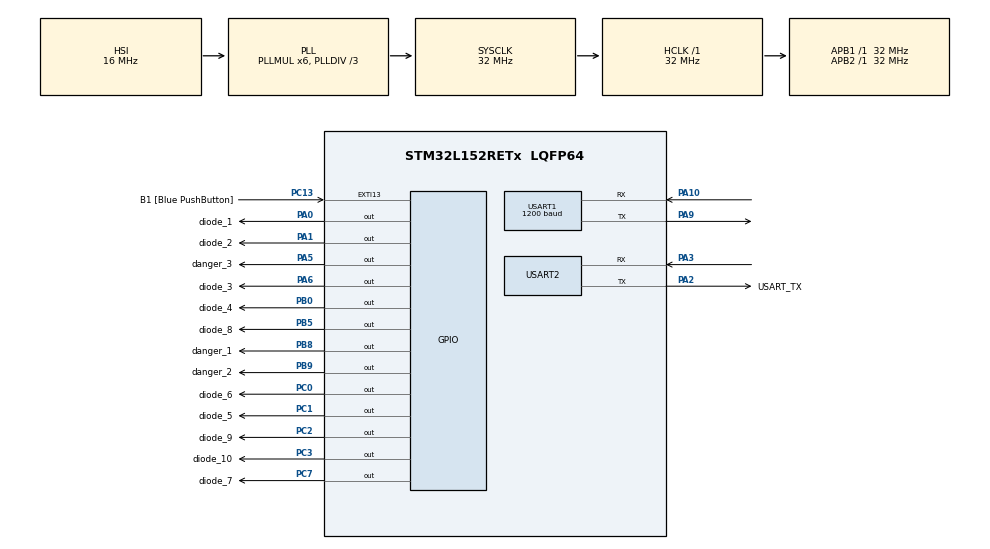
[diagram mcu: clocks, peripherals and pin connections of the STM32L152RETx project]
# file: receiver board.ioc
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Mcu.Family=STM32L1
Mcu.Name=STM32L152RETx
Mcu.Package=LQFP64
NVIC.PriorityGroup=NVIC_PRIORITYGROUP_0
NVIC.USART1_IRQn=true\:0\:0\:false\:false\:true\:true\:true\:true
PA0-WKUP1.GPIO_Label=diode_1
PA0-WKUP1.Signal=GPIO_Output
PA1.GPIO_Label=diode_2
PA1.Signal=GPIO_Output
PA10.Mode=Asynchronous
PA10.Signal=USART1_RX
PA13.GPIO_Label=TMS
PA13.Mode=Serial_Wire
PA13.Signal=SYS_JTMS-SWDIO
PA14.GPIO_Label=TCK
PA14.Mode=Serial_Wire
PA14.Signal=SYS_JTCK-SWCLK
PA2.GPIO_Label=USART_TX
PA2.Mode=Asynchronous
PA2.Signal=USART2_TX
PA3.Mode=Asynchronous
PA3.Signal=USART2_RX
PA5.GPIO_Label=danger_3
PA5.Signal=GPIO_Output
PA6.GPIO_Label=diode_3
PA6.Signal=GPIO_Output
PA9.Mode=Asynchronous
PA9.Signal=USART1_TX
PB0.GPIO_Label=diode_4
PB0.Signal=GPIO_Output
PB3.GPIO_Label=SWO
PB3.Signal=SYS_JTDO-TRACESWO
PB5.GPIO_Label=diode_8
PB5.Signal=GPIO_Output
PB8.GPIO_Label=danger_1
PB8.Signal=GPIO_Output
PB9.GPIO_Label=danger_2
PB9.Signal=GPIO_Output
PC0.GPIO_Label=diode_6
PC0.Signal=GPIO_Output
PC1.GPIO_Label=diode_5
PC1.Signal=GPIO_Output
PC13-WKUP2.GPIO_Label=B1 [Blue PushButton]
PC13-WKUP2.Signal=GPXTI13
PC14-OSC32_IN.Mode=LSE-External-Oscillator
PC14-OSC32_IN.Signal=RCC_OSC32_IN
PC15-OSC32_OUT.Mode=LSE-External-Oscillator
PC15-OSC32_OUT.Signal=RCC_OSC32_OUT
PC2.GPIO_Label=diode_9
PC2.Signal=GPIO_Output
PC3.GPIO_Label=diode_10
PC3.Signal=GPIO_Output
PC7.GPIO_Label=diode_7
PC7.Signal=GPIO_Output
PH0-OSC_IN.Mode=HSE-External-Clock-Source
PH0-OSC_IN.Signal=RCC_OSC_IN
PH1-OSC_OUT.Signal=RCC_OSC_OUT
ProjectManager.HeapSize=0x200
ProjectManager.StackSize=0x400
ProjectManager.TargetToolchain=STM32CubeIDE
RCC.48MHZClocksFreq_Value=48000000
RCC.AHBFreq_Value=32000000
RCC.APB1Freq_Value=32000000
RCC.APB1TimFreq_Value=32000000
RCC.APB2Freq_Value=32000000
RCC.APB2TimFreq_Value=32000000
RCC.HCLKFreq_Value=32000000
RCC.HSE_VALUE=8000000
RCC.HSI_VALUE=16000000
RCC.MSI_VALUE=2097000
RCC.PLLDIV=RCC_PLL_DIV3
RCC.PLLMUL=RCC_PLL_MUL6
RCC.RTCClockSelectionVirtual=RCC_RTCCLKSOURCE_LSE
RCC.SYSCLKFreq_VALUE=32000000
RCC.SYSCLKSource=RCC_SYSCLKSOURCE_PLLCLK
RCC.USBOutput=48000000
RCC.VCOOutputFreq_Value=96000000
USART1.BaudRate=1200
USART1.Mode=MODE_RX
USART1.VirtualMode=VM_ASYNC
USART2.VirtualMode=VM_ASYNC
board=NUCLEO-L152RE

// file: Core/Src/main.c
/* USER CODE BEGIN Header */
/**
  ******************************************************************************
  * @file           : main.c
  * @brief          : Main program body
  ******************************************************************************
  * @attention
  *
  * Copyright (c) 2025 STMicroelectronics.
  * All rights reserved.
  *
  * This software is licensed under terms that can be found in the LICENSE file
  * in the root directory of this software component.
  * If no LICENSE file comes with this software, it is provided AS-IS.
  *
  ******************************************************************************
  */
/* USER CODE END Header */
#include "main.h"

/* USER CODE BEGIN Includes */
#include <stdio.h>
/* USER CODE END Includes */

UART_HandleTypeDef huart1;
UART_HandleTypeDef huart2;

/* USER CODE BEGIN PV */
volatile uint8_t rx_byte;
uint8_t waiting_for_data = 0;
/* USER CODE END PV */

void SystemClock_Config(void);
static void MX_GPIO_Init(void);
static void MX_USART1_UART_Init(void);
static void MX_USART2_UART_Init(void);

int main(void)
{

  /* MCU Configuration--------------------------------------------------------*/

  /* Reset of all peripherals, Initializes the Flash interface and the Systick. */
  HAL_Init();

  /* Configure the system clock */
  SystemClock_Config();

  /* Initialize all configured peripherals */
  MX_GPIO_Init();
  MX_USART1_UART_Init();
  MX_USART2_UART_Init();
  /* USER CODE BEGIN 2 */

  printf("Receiver Ready\r\n");

  HAL_UART_Receive_IT(&huart1, (uint8_t*)&rx_byte, 1);

  void Update_BarGraph(uint16_t value)
  {
      GPIO_TypeDef* led_ports[] = {
          diode_1_GPIO_Port, diode_2_GPIO_Port, diode_3_GPIO_Port, diode_4_GPIO_Port,
          diode_5_GPIO_Port, diode_6_GPIO_Port, diode_7_GPIO_Port, diode_8_GPIO_Port,
          diode_9_GPIO_Port, diode_10_GPIO_Port
      };

      uint16_t led_pins[] = {
          diode_1_Pin, diode_2_Pin, diode_3_Pin, diode_4_Pin,
          diode_5_Pin, diode_6_Pin, diode_7_Pin, diode_8_Pin,
          diode_9_Pin, diode_10_Pin
      };

      uint8_t leds_to_light = value / 10;

      for (int i = 0; i < 10; i++)
      {
          if (i < leds_to_light)
          {
              HAL_GPIO_WritePin(led_ports[i], led_pins[i], GPIO_PIN_SET);
          }
          else
          {
              HAL_GPIO_WritePin(led_ports[i], led_pins[i], GPIO_PIN_RESET);
          }
      }
  }

  void Update_Danger_LEDs(uint8_t level)
  {
      GPIO_TypeDef* danger_ports[] = { danger_1_GPIO_Port, danger_2_GPIO_Port, danger_3_GPIO_Port };
      uint16_t danger_pins[]       = { danger_1_Pin,       danger_2_Pin,       danger_3_Pin       };

      for (int i = 0; i < 3; i++)
      {
          if (i == level)
          {
              HAL_GPIO_WritePin(danger_ports[i], danger_pins[i], GPIO_PIN_SET);
          }
          else
          {
              HAL_GPIO_WritePin(danger_ports[i], danger_pins[i], GPIO_PIN_RESET);
          }
      }
  }

  /* USER CODE END 2 */

  /* Infinite loop */
  /* USER CODE BEGIN WHILE */
  uint8_t rx_byte;
  uint8_t state = 0;
  uint8_t high_byte, low_byte, checksum;
  uint8_t help_val = 0;

  uint8_t humidity = 0;
  uint8_t danger_level = 0;

  while (1)
  {
	  if (HAL_UART_Receive(&huart1, &rx_byte, 1, 10) == HAL_OK) {

	          switch (state) {
	          case 0:
	                          if (rx_byte == 0x2D) {
	                        	  help_val = 1;
	                              state = 1;
	                          }
	                          else if (rx_byte == 0x21) {
	                        	  help_val = 2;
	                              state = 1;
	                          }
	                          break;
	              case 1:
	                  high_byte = rx_byte;
	                  state = 2;
	                  break;

	              case 2:
	                  low_byte = rx_byte;
	                  state = 3;
	                  break;

	              case 3:
	                  checksum = rx_byte;
	                  if (checksum == (uint8_t)(high_byte + low_byte)) {
	                      uint16_t received_int = (high_byte << 8) | low_byte;

	                      if (help_val == 1)
	                      {
	                    	  humidity = received_int;
	                    	  Update_BarGraph(humidity);
	                    	  printf("Humidity: %d\r\n", humidity);
	                      }
	                      else if (help_val == 2)
	                      {
	                    	  danger_level = received_int;
	                    	  Update_Danger_LEDs(danger_level);
	                    	  printf("Danger level: %d\r\n", danger_level);
	                      }
	                  }

	                  state = 0;
	                  break;
	          }
	      }
    /* USER CODE END WHILE */
  }
}

void SystemClock_Config(void)
{
  RCC_OscInitTypeDef RCC_OscInitStruct = {0};
  RCC_ClkInitTypeDef RCC_ClkInitStruct = {0};

  /** Configure the main internal regulator output voltage
  */
  __HAL_PWR_VOLTAGESCALING_CONFIG(PWR_REGULATOR_VOLTAGE_SCALE1);

  /** Initializes the RCC Oscillators according to the specified parameters
  * in the RCC_OscInitTypeDef structure.
  */
  RCC_OscInitStruct.OscillatorType = RCC_OSCILLATORTYPE_HSI;
  RCC_OscInitStruct.HSIState = RCC_HSI_ON;
  RCC_OscInitStruct.HSICalibrationValue = RCC_HSICALIBRATION_DEFAULT;
  RCC_OscInitStruct.PLL.PLLState = RCC_PLL_ON;
  RCC_OscInitStruct.PLL.PLLSource = RCC_PLLSOURCE_HSI;
  RCC_OscInitStruct.PLL.PLLMUL = RCC_PLL_MUL6;
  RCC_OscInitStruct.PLL.PLLDIV = RCC_PLL_DIV3;
  if (HAL_RCC_OscConfig(&RCC_OscInitStruct) != HAL_OK)
  {
    Error_Handler();
  }

  /** Initializes the CPU, AHB and APB buses clocks
  */
  RCC_ClkInitStruct.ClockType = RCC_CLOCKTYPE_HCLK|RCC_CLOCKTYPE_SYSCLK
                              |RCC_CLOCKTYPE_PCLK1|RCC_CLOCKTYPE_PCLK2;
  RCC_ClkInitStruct.SYSCLKSource = RCC_SYSCLKSOURCE_PLLCLK;
  RCC_ClkInitStruct.AHBCLKDivider = RCC_SYSCLK_DIV1;
  RCC_ClkInitStruct.APB1CLKDivider = RCC_HCLK_DIV1;
  RCC_ClkInitStruct.APB2CLKDivider = RCC_HCLK_DIV1;

  if (HAL_RCC_ClockConfig(&RCC_ClkInitStruct, FLASH_LATENCY_1) != HAL_OK)
  {
    Error_Handler();
  }
}

static void MX_USART1_UART_Init(void)
{

  huart1.Instance = USART1;
  huart1.Init.BaudRate = 1200;
  huart1.Init.WordLength = UART_WORDLENGTH_8B;
  huart1.Init.StopBits = UART_STOPBITS_1;
  huart1.Init.Parity = UART_PARITY_NONE;
  huart1.Init.Mode = UART_MODE_RX;
  huart1.Init.HwFlowCtl = UART_HWCONTROL_NONE;
  huart1.Init.OverSampling = UART_OVERSAMPLING_16;
  if (HAL_UART_Init(&huart1) != HAL_OK)
  {
    Error_Handler();
  }

}

static void MX_USART2_UART_Init(void)
{

  huart2.Instance = USART2;
  huart2.Init.BaudRate = 115200;
  huart2.Init.WordLength = UART_WORDLENGTH_8B;
  huart2.Init.StopBits = UART_STOPBITS_1;
  huart2.Init.Parity = UART_PARITY_NONE;
  huart2.Init.Mode = UART_MODE_TX_RX;
  huart2.Init.HwFlowCtl = UART_HWCONTROL_NONE;
  huart2.Init.OverSampling = UART_OVERSAMPLING_16;
  if (HAL_UART_Init(&huart2) != HAL_OK)
  {
    Error_Handler();
  }

}

static void MX_GPIO_Init(void)
{
  GPIO_InitTypeDef GPIO_InitStruct = {0};

  /* GPIO Ports Clock Enable */
  __HAL_RCC_GPIOC_CLK_ENABLE();
  __HAL_RCC_GPIOH_CLK_ENABLE();
  __HAL_RCC_GPIOA_CLK_ENABLE();
  __HAL_RCC_GPIOB_CLK_ENABLE();

  /*Configure GPIO pin Output Level */
  HAL_GPIO_WritePin(GPIOC, diode_6_Pin|diode_5_Pin|diode_9_Pin|diode_10_Pin
                          |diode_7_Pin, GPIO_PIN_RESET);

  /*Configure GPIO pin Output Level */
  HAL_GPIO_WritePin(GPIOA, diode_1_Pin|diode_2_Pin|danger_3_Pin|diode_3_Pin, GPIO_PIN_RESET);

  /*Configure GPIO pin Output Level */
  HAL_GPIO_WritePin(GPIOB, diode_4_Pin|diode_8_Pin|danger_1_Pin|danger_2_Pin, GPIO_PIN_RESET);

  /*Configure GPIO pin : B1_Pin */
  GPIO_InitStruct.Pin = B1_Pin;
  GPIO_InitStruct.Mode = GPIO_MODE_IT_RISING;
  GPIO_InitStruct.Pull = GPIO_NOPULL;
  HAL_GPIO_Init(B1_GPIO_Port, &GPIO_InitStruct);

  /*Configure GPIO pins : diode_6_Pin diode_5_Pin diode_9_Pin diode_10_Pin
                           diode_7_Pin */
  GPIO_InitStruct.Pin = diode_6_Pin|diode_5_Pin|diode_9_Pin|diode_10_Pin
                          |diode_7_Pin;
  GPIO_InitStruct.Mode = GPIO_MODE_OUTPUT_PP;
  GPIO_InitStruct.Pull = GPIO_NOPULL;
  GPIO_InitStruct.Speed = GPIO_SPEED_FREQ_LOW;
  HAL_GPIO_Init(GPIOC, &GPIO_InitStruct);

  /*Configure GPIO pins : diode_1_Pin diode_2_Pin danger_3_Pin diode_3_Pin */
  GPIO_InitStruct.Pin = diode_1_Pin|diode_2_Pin|danger_3_Pin|diode_3_Pin;
  GPIO_InitStruct.Mode = GPIO_MODE_OUTPUT_PP;
  GPIO_InitStruct.Pull = GPIO_NOPULL;
  GPIO_InitStruct.Speed = GPIO_SPEED_FREQ_LOW;
  HAL_GPIO_Init(GPIOA, &GPIO_InitStruct);

  /*Configure GPIO pins : diode_4_Pin diode_8_Pin danger_1_Pin danger_2_Pin */
  GPIO_InitStruct.Pin = diode_4_Pin|diode_8_Pin|danger_1_Pin|danger_2_Pin;
  GPIO_InitStruct.Mode = GPIO_MODE_OUTPUT_PP;
  GPIO_InitStruct.Pull = GPIO_NOPULL;
  GPIO_InitStruct.Speed = GPIO_SPEED_FREQ_LOW;
  HAL_GPIO_Init(GPIOB, &GPIO_InitStruct);

}

/* USER CODE BEGIN 4 */

int __io_putchar(int ch)
{
  HAL_UART_Transmit(&huart2, (uint8_t *)&ch, 1, HAL_MAX_DELAY);
  return ch;
}
/* USER CODE END 4 */

void Error_Handler(void)
{
  __disable_irq();
  while (1)
  {
  }
}
